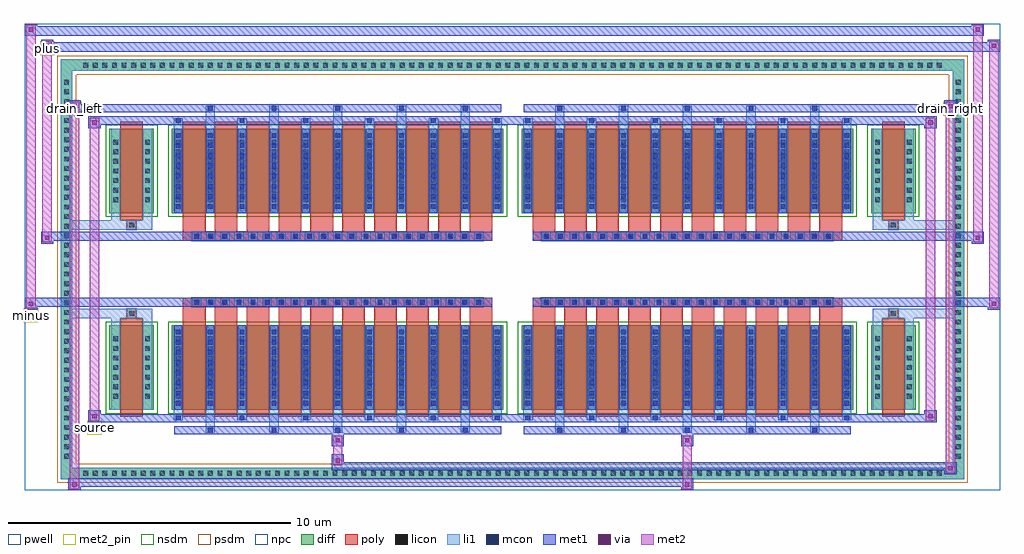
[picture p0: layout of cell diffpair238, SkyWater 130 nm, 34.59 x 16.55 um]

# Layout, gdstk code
import gdstk
lib = gdstk.Library(unit=1e-6, precision=5e-09)
def R(c, l, rs):  # rectangles x0, y0, x1, y1
    for r in rs: c.add(gdstk.rectangle(r[:2], r[2:], *l))
def A(c, l, x, y, w, h, nx, ny, dx, dy):  # array of equal rectangles
    R(c, l, [(x+i*dx, y+j*dy, x+i*dx+w, y+j*dy+h) for i in range(nx) for j in range(ny)])
def P(c, l, *ps):  # polygons
    for p in ps: c.add(gdstk.Polygon(p, *l))
pwell = (64, 44)
diff = (65, 20)
poly = (66, 20)
licon = (66, 44)
li1 = (67, 20)
mcon = (67, 44)
met1 = (68, 20)
via = (68, 44)
met2_pin = (69, 16)
met2 = (69, 20)
nsdm = (93, 44)
psdm = (94, 20)
npc = (95, 20)

diffpair238 = lib.new_cell('diffpair238')
R(diffpair238, pwell, [(-17.28,-7.84,17.28,8.71), (-14.6,-6.03,-0.01,-0.805), (0.01,-6.03,14.6,-0.805), (-14.6,0.805,-0.01,6.03), (0.01,0.805,14.6,6.03)])
A(diffpair238, diff, -15.335, -7.44, 0.41, 0.41, 90, 2, 0.34, 14.47)
A(diffpair238, diff, -16.01, -6.835, 0.41, 0.41, 1, 40, 0, 0.34)
A(diffpair238, diff, 15.6, -6.835, 0.41, 0.41, 1, 40, 0, 0.34)
R(diffpair238, diff, [(-15.335,-7.44,15.335,-7.03), (-16.01,-6.835,-15.6,6.835), (15.6,-6.835,16.01,6.835), (-14.29,-4.985,-12.71,-1.985), (-12.07,-4.985,-0.32,-1.985), (0.32,-4.985,12.07,-1.985), (12.71,-4.985,14.29,-1.985), (-14.29,1.985,-12.71,4.985), (-12.07,1.985,-0.32,4.985), (0.32,1.985,12.07,4.985), (12.71,1.985,14.29,4.985), (-15.335,7.03,15.335,7.44)])
P(diffpair238, diff, [(16.01,7.44),(-16.01,7.44),(-16.01,-7.03),(-15.6,-7.03),(-15.6,7.03),(15.6,7.03),(15.6,-7.03),(-15.6,-7.03),(-16.01,-7.03),(-16.01,-7.44),(16.01,-7.44)])
A(diffpair238, poly, -11.68, -5.235, 0.8, 3.5, 10, 2, 1.13, 6.97)
A(diffpair238, poly, 0.71, -5.235, 0.8, 3.5, 10, 2, 1.13, 6.97)
A(diffpair238, poly, -11.68, -1.735, 0.8, 0.4, 10, 2, 1.13, 3.07)
A(diffpair238, poly, 0.71, -1.735, 0.8, 0.4, 10, 2, 1.13, 3.07)
A(diffpair238, poly, -11.36, -1.335, 0.33, 0.33, 21, 2, 0.5, 2.34)
A(diffpair238, poly, 1.03, -1.335, 0.33, 0.33, 21, 2, 0.5, 2.34)
R(diffpair238, poly, [(-13.9,-5.235,-13.1,-1.735), (13.1,-5.235,13.9,-1.735), (-13.665,-1.735,-13.335,-1.405), (-13.665,-1.735,-13.335,-1.405), (13.335,-1.735,13.665,-1.405), (13.335,-1.735,13.665,-1.405), (-11.68,-1.335,-0.71,-1.005), (0.71,-1.335,11.68,-1.005), (-11.68,1.005,-0.71,1.335), (0.71,1.005,11.68,1.335), (-13.665,1.405,-13.335,1.735), (-13.665,1.405,-13.335,1.735), (13.335,1.405,13.665,1.735), (13.335,1.405,13.665,1.735), (-13.9,1.735,-13.1,5.235), (13.1,1.735,13.9,5.235)])
A(diffpair238, licon, -15.215, -7.32, 0.17, 0.17, 90, 2, 0.34, 14.47)
A(diffpair238, licon, -15.89, -6.715, 0.17, 0.17, 1, 40, 0, 0.34)
A(diffpair238, licon, 15.72, -6.715, 0.17, 0.17, 1, 40, 0, 0.34)
A(diffpair238, licon, -14.15, -4.59, 0.17, 0.17, 1, 7, 0, 0.34)
A(diffpair238, licon, -13.02, -4.59, 0.17, 0.17, 1, 7, 0, 0.34)
A(diffpair238, licon, -11.93, -4.59, 0.17, 0.17, 11, 7, 1.13, 0.34)
A(diffpair238, licon, 0.46, -4.59, 0.17, 0.17, 11, 7, 1.13, 0.34)
A(diffpair238, licon, 12.85, -4.59, 0.17, 0.17, 1, 7, 0, 0.34)
A(diffpair238, licon, 13.98, -4.59, 0.17, 0.17, 1, 7, 0, 0.34)
A(diffpair238, licon, -11.28, -1.255, 0.17, 0.17, 21, 2, 0.5, 2.34)
A(diffpair238, licon, 1.11, -1.255, 0.17, 0.17, 21, 2, 0.5, 2.34)
A(diffpair238, licon, -14.15, 2.38, 0.17, 0.17, 1, 7, 0, 0.34)
A(diffpair238, licon, -13.02, 2.38, 0.17, 0.17, 1, 7, 0, 0.34)
A(diffpair238, licon, -11.93, 2.38, 0.17, 0.17, 11, 7, 1.13, 0.34)
A(diffpair238, licon, 0.46, 2.38, 0.17, 0.17, 11, 7, 1.13, 0.34)
A(diffpair238, licon, 12.85, 2.38, 0.17, 0.17, 1, 7, 0, 0.34)
A(diffpair238, licon, 13.98, 2.38, 0.17, 0.17, 1, 7, 0, 0.34)
R(diffpair238, licon, [(-13.585,-1.655,-13.415,-1.485), (13.415,-1.655,13.585,-1.485), (-13.585,1.485,-13.415,1.655), (13.415,1.485,13.585,1.655)])
A(diffpair238, li1, -15.295, -7.4, 0.33, 0.33, 90, 2, 0.34, 14.47)
A(diffpair238, li1, -15.97, -6.795, 0.33, 0.33, 1, 40, 0, 0.34)
A(diffpair238, li1, 15.64, -6.795, 0.33, 0.33, 1, 40, 0, 0.34)
A(diffpair238, li1, -10.88, -5.79, 0.33, 0.805, 5, 2, 2.26, 10.775)
A(diffpair238, li1, -10.8, -5.79, 0.17, 0.17, 5, 2, 2.26, 11.41)
A(diffpair238, li1, 1.51, -5.79, 0.33, 0.805, 5, 2, 2.26, 10.775)
A(diffpair238, li1, 1.59, -5.79, 0.17, 0.17, 5, 2, 2.26, 11.41)
A(diffpair238, li1, -12.01, -5.36, 0.33, 0.375, 6, 2, 2.26, 10.345)
A(diffpair238, li1, -11.93, -5.36, 0.17, 0.17, 6, 2, 2.26, 10.55)
A(diffpair238, li1, 0.38, -5.36, 0.33, 0.375, 6, 2, 2.26, 10.345)
A(diffpair238, li1, 0.46, -5.36, 0.17, 0.17, 6, 2, 2.26, 10.55)
A(diffpair238, li1, -12.01, -4.985, 0.33, 3, 11, 2, 1.13, 6.97)
A(diffpair238, li1, 0.38, -4.985, 0.33, 3, 11, 2, 1.13, 6.97)
A(diffpair238, li1, -11.93, -4.83, 0.17, 0.17, 11, 8, 1.13, 0.36)
A(diffpair238, li1, -11.93, -4.83, 0.17, 2.69, 11, 2, 1.13, 6.97)
A(diffpair238, li1, 0.46, -4.83, 0.17, 0.17, 11, 8, 1.13, 0.36)
A(diffpair238, li1, 0.46, -4.83, 0.17, 2.69, 11, 2, 1.13, 6.97)
A(diffpair238, li1, -14.23, -4.67, 0.33, 0.33, 1, 7, 0, 0.34)
A(diffpair238, li1, -13.1, -4.67, 0.33, 0.33, 1, 7, 0, 0.34)
A(diffpair238, li1, -12.01, -4.67, 0.33, 0.33, 11, 7, 1.13, 0.34)
A(diffpair238, li1, 0.38, -4.67, 0.33, 0.33, 11, 7, 1.13, 0.34)
A(diffpair238, li1, 12.77, -4.67, 0.33, 0.33, 1, 7, 0, 0.34)
A(diffpair238, li1, 13.9, -4.67, 0.33, 0.33, 1, 7, 0, 0.34)
A(diffpair238, li1, -11.36, -1.335, 0.33, 0.33, 21, 2, 0.5, 2.34)
A(diffpair238, li1, 1.03, -1.335, 0.33, 0.33, 21, 2, 0.5, 2.34)
A(diffpair238, li1, -11.93, 2.14, 0.17, 0.17, 11, 8, 1.13, 0.36)
A(diffpair238, li1, 0.46, 2.14, 0.17, 0.17, 11, 8, 1.13, 0.36)
A(diffpair238, li1, -14.23, 2.3, 0.33, 0.33, 1, 7, 0, 0.34)
A(diffpair238, li1, -13.1, 2.3, 0.33, 0.33, 1, 7, 0, 0.34)
A(diffpair238, li1, -12.01, 2.3, 0.33, 0.33, 11, 7, 1.13, 0.34)
A(diffpair238, li1, 0.38, 2.3, 0.33, 0.33, 11, 7, 1.13, 0.34)
A(diffpair238, li1, 12.77, 2.3, 0.33, 0.33, 1, 7, 0, 0.34)
A(diffpair238, li1, 13.9, 2.3, 0.33, 0.33, 1, 7, 0, 0.34)
R(diffpair238, li1, [(-16.01,-7.44,-15.6,-7.03), (-16.01,-7.44,-15.6,-7.03), (-15.6,-7.44,15.6,-7.03), (15.6,-7.44,16.01,-7.03), (15.6,-7.44,16.01,-7.03), (-16.01,-7.03,-15.6,7.03), (15.6,-7.03,16.01,7.03), (-14.23,-4.985,-13.9,-1.985), (-13.1,-4.985,-12.77,-1.985), (12.77,-4.985,13.1,-1.985), (13.9,-4.985,14.23,-1.985), (-14.23,-1.985,-13.9,-1.405), (-13.1,-1.985,-12.77,-1.405), (12.77,-1.985,13.1,-1.405), (13.9,-1.985,14.23,-1.405), (-16.01,-1.735,-13.665,-1.405), (-14.23,-1.735,-13.665,-1.405), (-13.665,-1.735,-13.335,-1.405), (-13.335,-1.735,-12.77,-1.405), (12.77,-1.735,13.335,-1.405), (13.335,-1.735,13.665,-1.405), (13.335,-1.735,16.01,-1.405), (13.665,-1.735,14.23,-1.405), (-16.01,1.405,-13.665,1.735), (-14.23,1.405,-13.665,1.735), (-14.23,1.405,-13.9,1.985), (-13.665,1.405,-13.335,1.735), (-13.335,1.405,-12.77,1.735), (-13.1,1.405,-12.77,1.985), (12.77,1.405,13.335,1.735), (12.77,1.405,13.1,1.985), (13.335,1.405,13.665,1.735), (13.335,1.405,16.01,1.735), (13.665,1.405,14.23,1.735), (13.9,1.405,14.23,1.985), (-14.23,1.985,-13.9,4.985), (-13.1,1.985,-12.77,4.985), (12.77,1.985,13.1,4.985), (13.9,1.985,14.23,4.985), (-16.01,7.03,-15.6,7.44), (-16.01,7.03,-15.6,7.44), (-15.6,7.03,15.6,7.44), (15.6,7.03,16.01,7.44), (15.6,7.03,16.01,7.44)])
A(diffpair238, mcon, -10.8, -5.79, 0.17, 0.17, 5, 2, 2.26, 11.41)
A(diffpair238, mcon, 1.59, -5.79, 0.17, 0.17, 5, 2, 2.26, 11.41)
A(diffpair238, mcon, -11.93, -5.36, 0.17, 0.17, 6, 2, 2.26, 10.55)
A(diffpair238, mcon, 0.46, -5.36, 0.17, 0.17, 6, 2, 2.26, 10.55)
A(diffpair238, mcon, -11.93, -4.83, 0.17, 0.17, 11, 8, 1.13, 0.36)
A(diffpair238, mcon, 0.46, -4.83, 0.17, 0.17, 11, 8, 1.13, 0.36)
A(diffpair238, mcon, -11.28, -1.255, 0.17, 0.17, 21, 2, 0.5, 2.34)
A(diffpair238, mcon, 1.11, -1.255, 0.17, 0.17, 21, 2, 0.5, 2.34)
A(diffpair238, mcon, -11.93, 2.14, 0.17, 0.17, 11, 8, 1.13, 0.36)
A(diffpair238, mcon, 0.46, 2.14, 0.17, 0.17, 11, 8, 1.13, 0.36)
A(diffpair238, met1, -10.86, -5.85, 0.29, 0.29, 5, 2, 2.26, 11.41)
A(diffpair238, met1, 1.53, -5.85, 0.29, 0.29, 5, 2, 2.26, 11.41)
A(diffpair238, met1, -11.99, -5.42, 0.29, 0.29, 6, 2, 2.26, 10.55)
A(diffpair238, met1, 0.4, -5.42, 0.29, 0.29, 6, 2, 2.26, 10.55)
A(diffpair238, met1, -11.99, -4.985, 0.29, 3, 11, 2, 1.13, 6.97)
A(diffpair238, met1, 0.4, -4.985, 0.29, 3, 11, 2, 1.13, 6.97)
A(diffpair238, met1, -11.99, -4.89, 0.29, 0.29, 11, 8, 1.13, 0.36)
A(diffpair238, met1, 0.4, -4.89, 0.29, 0.29, 11, 8, 1.13, 0.36)
A(diffpair238, met1, -11.34, -1.315, 0.29, 0.29, 21, 2, 0.5, 2.34)
A(diffpair238, met1, 1.05, -1.315, 0.29, 0.29, 21, 2, 0.5, 2.34)
A(diffpair238, met1, -11.99, 2.08, 0.29, 0.29, 11, 8, 1.13, 0.36)
A(diffpair238, met1, 0.4, 2.08, 0.29, 0.29, 11, 8, 1.13, 0.36)
R(diffpair238, met1, [(-15.74,-7.84,-15.31,-7.41), (5.98,-7.84,6.41,-7.41), (-15.74,-7.7,6.41,-7.41), (15.31,-7.27,15.74,-6.84), (-6.41,-7.13,15.74,-6.84), (-6.41,-6.99,-5.98,-6.56), (-6.41,-6.28,-5.98,-5.85), (5.98,-6.28,6.41,-5.85), (-11.99,-5.85,-0.4,-5.56), (0.4,-5.85,11.99,-5.56), (-15.03,-5.42,-14.6,-4.99), (-15.03,-5.42,-11.99,-5.13), (-11.99,-5.42,-0.4,-5.13), (-0.4,-5.42,0.4,-5.13), (0.4,-5.42,11.99,-5.13), (11.99,-5.42,15.03,-5.13), (14.6,-5.42,15.03,-4.99), (-17.28,-1.435,-16.85,-1.005), (16.85,-1.435,17.28,-1.005), (-17.28,-1.335,-0.71,-1.005), (-11.68,-1.335,-0.71,-1.005), (0.71,-1.335,11.68,-1.005), (0.71,-1.335,17.28,-1.005), (-16.71,0.905,-16.28,1.335), (16.28,0.905,16.71,1.335), (-16.71,1.005,-11.68,1.335), (-11.68,1.005,-0.71,1.335), (0.71,1.005,11.68,1.335), (11.68,1.005,16.71,1.335), (-15.03,4.99,-14.6,5.42), (14.6,4.99,15.03,5.42), (-15.03,5.13,-11.99,5.42), (-11.99,5.13,-0.4,5.42), (-0.4,5.13,0.4,5.42), (0.4,5.13,11.99,5.42), (11.99,5.13,15.03,5.42), (-15.74,5.56,-15.31,5.99), (-15.74,5.56,-11.99,5.85), (-11.99,5.56,-0.4,5.85), (0.4,5.56,11.99,5.85), (11.99,5.56,15.74,5.85), (15.31,5.56,15.74,5.99), (-16.71,7.71,-16.28,8.14), (-16.71,7.71,-14.6,8.04), (-14.6,7.71,14.6,8.04), (14.6,7.71,17.28,8.04), (16.85,7.71,17.28,8.14), (-17.28,8.28,-16.85,8.71), (-17.28,8.28,-14.6,8.61), (-14.6,8.28,14.6,8.61), (14.6,8.28,16.71,8.61), (16.28,8.28,16.71,8.71)])
R(diffpair238, via, [(-15.6,-7.7,-15.45,-7.55), (6.12,-7.7,6.27,-7.55), (15.45,-7.13,15.6,-6.98), (-6.27,-6.85,-6.12,-6.7), (-6.27,-6.14,-6.12,-5.99), (6.12,-6.14,6.27,-5.99), (-14.89,-5.28,-14.74,-5.13), (14.74,-5.28,14.89,-5.13), (-17.14,-1.295,-16.99,-1.145), (16.99,-1.295,17.14,-1.145), (-16.57,1.045,-16.42,1.195), (16.42,1.045,16.57,1.195), (-14.89,5.13,-14.74,5.28), (14.74,5.13,14.89,5.28), (-15.6,5.7,-15.45,5.85), (15.45,5.7,15.6,5.85), (-16.57,7.85,-16.42,8), (16.99,7.85,17.14,8), (-17.14,8.42,-16.99,8.57), (16.42,8.42,16.57,8.57)])
R(diffpair238, met2_pin, [(-15.065,-5.87,-14.565,-5.37), (-17.315,-1.885,-16.815,-1.385), (-15.775,5.44,-15.275,5.94), (15.275,5.44,15.775,5.94), (-16.745,7.59,-16.245,8.09)])
R(diffpair238, met2, [(-15.69,-7.79,-15.36,-7.46), (-15.69,-7.79,-15.36,5.94), (6.03,-7.79,6.36,-7.46), (6.03,-7.46,6.36,-6.23), (15.36,-7.22,15.69,-6.89), (15.36,-7.22,15.69,5.94), (-6.36,-6.94,-6.03,-6.61), (-6.36,-6.61,-6.03,-6.23), (-6.36,-6.23,-6.03,-5.9), (6.03,-6.23,6.36,-5.9), (-14.98,-5.37,-14.65,-5.04), (-14.98,-5.37,-14.65,5.37), (14.65,-5.37,14.98,-5.04), (14.65,-5.37,14.98,5.37), (-17.23,-1.385,-16.9,-1.055), (-17.23,-1.385,-16.9,8.66), (16.9,-1.385,17.23,-1.055), (16.9,-1.385,17.23,8.09), (-16.66,0.955,-16.33,1.285), (-16.66,0.955,-16.33,8.09), (16.33,0.955,16.66,1.285), (16.33,0.955,16.66,8.66), (-14.98,5.04,-14.65,5.37), (14.65,5.04,14.98,5.37), (-15.69,5.61,-15.36,5.94), (15.36,5.61,15.69,5.94), (-16.66,7.76,-16.33,8.09), (16.9,7.76,17.23,8.09), (-17.23,8.33,-16.9,8.66), (16.33,8.33,16.66,8.66)])
P(diffpair238, met2, [(17.23,-1.385),(17.23,-1.385),(17.23,-1.055),(17.23,-1.055)],
  [(17.23,7.76),(17.23,7.76),(17.23,8.09),(17.23,8.09)],
  [(-16.9,-1.385),(-16.9,-1.385),(-16.9,-1.055),(-16.9,-1.055)],
  [(-16.9,8.33),(-16.9,8.33),(-16.9,8.66),(-16.9,8.66)],
  [(16.66,0.955),(16.66,0.955),(16.66,1.285),(16.66,1.285)],
  [(16.66,8.33),(16.66,8.33),(16.66,8.66),(16.66,8.66)],
  [(-16.33,0.955),(-16.33,0.955),(-16.33,1.285),(-16.33,1.285)],
  [(-16.33,7.76),(-16.33,7.76),(-16.33,8.09),(-16.33,8.09)],
  [(-15.36,-7.79),(-15.36,-7.79),(-15.36,-7.46),(-15.36,-7.46)],
  [(-15.36,5.61),(-15.36,5.61),(-15.36,5.94),(-15.36,5.94)],
  [(15.69,-7.22),(15.69,-7.22),(15.69,-6.89),(15.69,-6.89)],
  [(15.69,5.61),(15.69,5.61),(15.69,5.94),(15.69,5.94)],
  [(-14.65,-5.37),(-14.65,-5.37),(-14.65,-5.04),(-14.65,-5.04)],
  [(-14.65,5.04),(-14.65,5.04),(-14.65,5.37),(-14.65,5.37)],
  [(14.98,-5.37),(14.98,-5.37),(14.98,-5.04),(14.98,-5.04)],
  [(14.98,5.04),(14.98,5.04),(14.98,5.37),(14.98,5.37)])
R(diffpair238, nsdm, [(-14.42,-5.115,-12.58,-1.855), (-12.2,-5.115,-0.19,-1.855), (0.19,-5.115,12.2,-1.855), (12.58,-5.115,14.42,-1.855), (-14.42,1.855,-12.58,5.115), (-12.2,1.855,-0.19,5.115), (0.19,1.855,12.2,5.115), (12.58,1.855,14.42,5.115)])
P(diffpair238, psdm, [(16.14,7.57),(-16.14,7.57),(-16.14,-6.9),(-15.47,-6.9),(-15.47,6.9),(15.47,6.9),(15.47,-6.9),(-15.47,-6.9),(-16.14,-6.9),(-16.14,-7.57),(16.14,-7.57)])
A(diffpair238, npc, -11.38, -1.355, 0.37, 0.37, 21, 2, 0.5, 2.34)
A(diffpair238, npc, 1.01, -1.355, 0.37, 0.37, 21, 2, 0.5, 2.34)
R(diffpair238, npc, [(-13.685,-1.755,-13.315,-1.385), (13.315,-1.755,13.685,-1.385), (-11.38,-1.355,-10.51,-0.985), (-11.38,-1.355,-10.51,-0.985), (-10.88,-1.355,-10.01,-0.985), (-10.88,-1.355,-10.01,-0.985), (-10.38,-1.355,-9.51,-0.985), (-10.38,-1.355,-9.51,-0.985), (-9.88,-1.355,-9.01,-0.985), (-9.88,-1.355,-9.01,-0.985), (-9.38,-1.355,-8.51,-0.985), (-9.38,-1.355,-8.51,-0.985), (-8.88,-1.355,-8.01,-0.985), (-8.88,-1.355,-8.01,-0.985), (-8.38,-1.355,-7.51,-0.985), (-8.38,-1.355,-7.51,-0.985), (-7.88,-1.355,-7.01,-0.985), (-7.88,-1.355,-7.01,-0.985), (-7.38,-1.355,-6.51,-0.985), (-7.38,-1.355,-6.51,-0.985), (-6.88,-1.355,-6.01,-0.985), (-6.88,-1.355,-6.01,-0.985), (-6.38,-1.355,-5.51,-0.985), (-6.38,-1.355,-5.51,-0.985), (-5.88,-1.355,-5.01,-0.985), (-5.88,-1.355,-5.01,-0.985), (-5.38,-1.355,-4.51,-0.985), (-5.38,-1.355,-4.51,-0.985), (-4.88,-1.355,-4.01,-0.985), (-4.88,-1.355,-4.01,-0.985), (-4.38,-1.355,-3.51,-0.985), (-4.38,-1.355,-3.51,-0.985), (-3.88,-1.355,-3.01,-0.985), (-3.88,-1.355,-3.01,-0.985), (-3.38,-1.355,-2.51,-0.985), (-3.38,-1.355,-2.51,-0.985), (-2.88,-1.355,-2.01,-0.985), (-2.88,-1.355,-2.01,-0.985), (-2.38,-1.355,-1.51,-0.985), (-2.38,-1.355,-1.51,-0.985), (-1.88,-1.355,-1.01,-0.985), (-1.88,-1.355,-1.01,-0.985), (1.01,-1.355,1.88,-0.985), (1.01,-1.355,1.88,-0.985), (1.51,-1.355,2.38,-0.985), (1.51,-1.355,2.38,-0.985), (2.01,-1.355,2.88,-0.985), (2.01,-1.355,2.88,-0.985), (2.51,-1.355,3.38,-0.985), (2.51,-1.355,3.38,-0.985), (3.01,-1.355,3.88,-0.985), (3.01,-1.355,3.88,-0.985), (3.51,-1.355,4.38,-0.985), (3.51,-1.355,4.38,-0.985), (4.01,-1.355,4.88,-0.985), (4.01,-1.355,4.88,-0.985), (4.51,-1.355,5.38,-0.985), (4.51,-1.355,5.38,-0.985), (5.01,-1.355,5.88,-0.985), (5.01,-1.355,5.88,-0.985), (5.51,-1.355,6.38,-0.985), (5.51,-1.355,6.38,-0.985), (6.01,-1.355,6.88,-0.985), (6.01,-1.355,6.88,-0.985), (6.51,-1.355,7.38,-0.985), (6.51,-1.355,7.38,-0.985), (7.01,-1.355,7.88,-0.985), (7.01,-1.355,7.88,-0.985), (7.51,-1.355,8.38,-0.985), (7.51,-1.355,8.38,-0.985), (8.01,-1.355,8.88,-0.985), (8.01,-1.355,8.88,-0.985), (8.51,-1.355,9.38,-0.985), (8.51,-1.355,9.38,-0.985), (9.01,-1.355,9.88,-0.985), (9.01,-1.355,9.88,-0.985), (9.51,-1.355,10.38,-0.985), (9.51,-1.355,10.38,-0.985), (10.01,-1.355,10.88,-0.985), (10.01,-1.355,10.88,-0.985), (10.51,-1.355,11.38,-0.985), (10.51,-1.355,11.38,-0.985), (-11.38,0.985,-10.51,1.355), (-11.38,0.985,-10.51,1.355), (-10.88,0.985,-10.01,1.355), (-10.88,0.985,-10.01,1.355), (-10.38,0.985,-9.51,1.355), (-10.38,0.985,-9.51,1.355), (-9.88,0.985,-9.01,1.355), (-9.88,0.985,-9.01,1.355), (-9.38,0.985,-8.51,1.355), (-9.38,0.985,-8.51,1.355), (-8.88,0.985,-8.01,1.355), (-8.88,0.985,-8.01,1.355), (-8.38,0.985,-7.51,1.355), (-8.38,0.985,-7.51,1.355), (-7.88,0.985,-7.01,1.355), (-7.88,0.985,-7.01,1.355), (-7.38,0.985,-6.51,1.355), (-7.38,0.985,-6.51,1.355), (-6.88,0.985,-6.01,1.355), (-6.88,0.985,-6.01,1.355), (-6.38,0.985,-5.51,1.355), (-6.38,0.985,-5.51,1.355), (-5.88,0.985,-5.01,1.355), (-5.88,0.985,-5.01,1.355), (-5.38,0.985,-4.51,1.355), (-5.38,0.985,-4.51,1.355), (-4.88,0.985,-4.01,1.355), (-4.88,0.985,-4.01,1.355), (-4.38,0.985,-3.51,1.355), (-4.38,0.985,-3.51,1.355), (-3.88,0.985,-3.01,1.355), (-3.88,0.985,-3.01,1.355), (-3.38,0.985,-2.51,1.355), (-3.38,0.985,-2.51,1.355), (-2.88,0.985,-2.01,1.355), (-2.88,0.985,-2.01,1.355), (-2.38,0.985,-1.51,1.355), (-2.38,0.985,-1.51,1.355), (-1.88,0.985,-1.01,1.355), (-1.88,0.985,-1.01,1.355), (1.01,0.985,1.88,1.355), (1.01,0.985,1.88,1.355), (1.51,0.985,2.38,1.355), (1.51,0.985,2.38,1.355), (2.01,0.985,2.88,1.355), (2.01,0.985,2.88,1.355), (2.51,0.985,3.38,1.355), (2.51,0.985,3.38,1.355), (3.01,0.985,3.88,1.355), (3.01,0.985,3.88,1.355), (3.51,0.985,4.38,1.355), (3.51,0.985,4.38,1.355), (4.01,0.985,4.88,1.355), (4.01,0.985,4.88,1.355), (4.51,0.985,5.38,1.355), (4.51,0.985,5.38,1.355), (5.01,0.985,5.88,1.355), (5.01,0.985,5.88,1.355), (5.51,0.985,6.38,1.355), (5.51,0.985,6.38,1.355), (6.01,0.985,6.88,1.355), (6.01,0.985,6.88,1.355), (6.51,0.985,7.38,1.355), (6.51,0.985,7.38,1.355), (7.01,0.985,7.88,1.355), (7.01,0.985,7.88,1.355), (7.51,0.985,8.38,1.355), (7.51,0.985,8.38,1.355), (8.01,0.985,8.88,1.355), (8.01,0.985,8.88,1.355), (8.51,0.985,9.38,1.355), (8.51,0.985,9.38,1.355), (9.01,0.985,9.88,1.355), (9.01,0.985,9.88,1.355), (9.51,0.985,10.38,1.355), (9.51,0.985,10.38,1.355), (10.01,0.985,10.88,1.355), (10.01,0.985,10.88,1.355), (10.51,0.985,11.38,1.355), (10.51,0.985,11.38,1.355), (-13.685,1.385,-13.315,1.755), (13.315,1.385,13.685,1.755)])
diffpair238.add(gdstk.Label('minus', (-17.065,-1.635), layer=69, texttype=5))
diffpair238.add(gdstk.Label('drain_right', (15.525,5.69), layer=69, texttype=5))
diffpair238.add(gdstk.Label('drain_left', (-15.525,5.69), layer=69, texttype=5))
diffpair238.add(gdstk.Label('source', (-14.815,-5.62), layer=69, texttype=5))
diffpair238.add(gdstk.Label('plus', (-16.495,7.84), layer=69, texttype=5))

lib.write_gds('diffpair238.gds')
